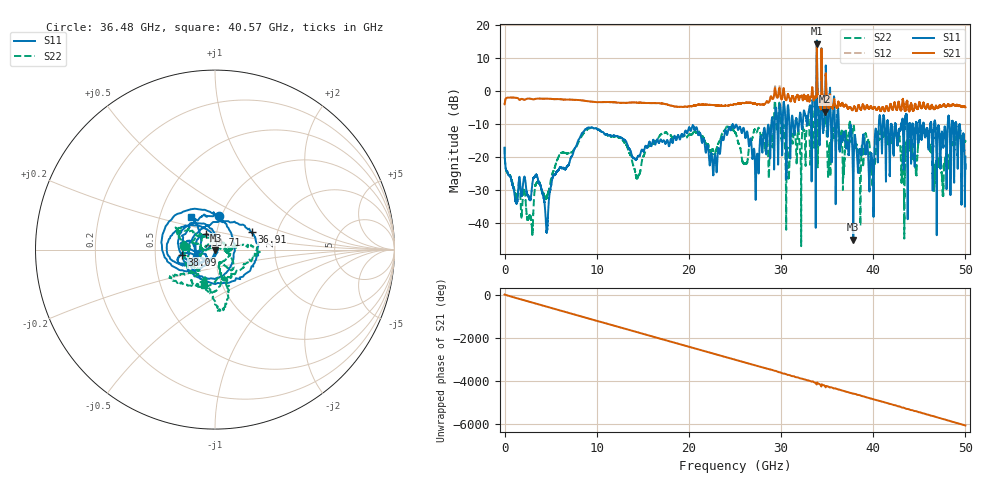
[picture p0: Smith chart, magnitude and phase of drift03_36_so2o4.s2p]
!Created with skrf (http://scikit-rf.org).
# Hz S RI R 50.0
!freq ReS11 ImS11 ReS21 ImS21 ReS12 ImS12 ReS22 ImS22
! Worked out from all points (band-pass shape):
!   10001 points, 300 kHz to 50 GHz, reference 50 ohm
!   highest |S21| = 14.31 dB at 33.88 GHz (marker M1); lowest = -6.3 dB at 34.79 GHz (marker M2)
!   |S21| within 3 dB of the highest: 33.86916 GHz to 33.88855 GHz (19.39 MHz wide, 0.0572 % of centre); 34.37713 GHz to 34.3897 GHz (12.57 MHz wide, 0.0366 % of centre)
!   lowest |S11| = -45.0 dB at 37.83 GHz (marker M3), VSWR 1.01, Z = 50.3 - j0.49 ohm
!   |S11| at or under -10 dB: start of sweep to 28.94 GHz; 36.27 GHz to 40.61 GHz (4.341 GHz wide, 11.3 % of centre); 46.75 GHz to 48.08 GHz (1.331 GHz wide, 2.81 % of centre) (the widest 3 of 57)
!   |S22| runs from -47.0 to 11.0 dB; largest |S21 - S12| = 0.82
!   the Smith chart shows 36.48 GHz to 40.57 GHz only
!   S11 on the Smith chart (normalised r, x): 36.48 GHz: 0.97, +0.38; 36.91 GHz: 1.48, +0.31; 38.09 GHz: 0.69, -0.04; 39.71 GHz: 0.89, +0.15; 40.57 GHz: 0.72, +0.28
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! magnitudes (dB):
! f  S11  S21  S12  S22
! 300 kHz  -17.2  -4.0  -4.0  -16.9
! 2.825 GHz  -32.6  -2.4  -2.4  -38.3
! 4.56 GHz  -42.6  -2.3  -2.3  -32.2
! 8.335 GHz  -13.1  -2.8  -2.8  -13.9
! 14.43 GHz  -20.0  -3.5  -3.5  -26.3
! 16.67 GHz  -15.4  -3.7  -3.7  -14.3
! 22.82 GHz  -19.3  -4.3  -4.3  -19.1
! 25 GHz  -11.0  -4.0  -4.0  -12.5
! 27.39 GHz  -19.4  -4.1  -4.1  -12.4
! 29.6 GHz  -10.4  -2.0  -2.1  -11.7
! 30.7 GHz  -5.7  -1.5  -1.5  -17.3
! 33.34 GHz  -13.9  -0.5  -0.5  -7.2
! 33.88 GHz  15.3  14.3  14.0  10.8
! 34.79 GHz  -3.2  -6.3  -5.0  -8.6
! 36.48 GHz  -14.5  -4.4  -4.4  -15.2
! 36.91 GHz  -12.9  -4.5  -4.5  -18.6
! 37.83 GHz  -45.0  -5.5  -5.6  -11.3
! 38.09 GHz  -14.6  -5.6  -5.5  -16.7
! 39.71 GHz  -20.1  -4.7  -4.6  -20.9
! 40.57 GHz  -12.9  -4.9  -4.9  -13.6
! 41.67 GHz  -12.2  -6.0  -5.9  -15.1
! 50 GHz  -19.9  -4.9  -4.9  -15.2
